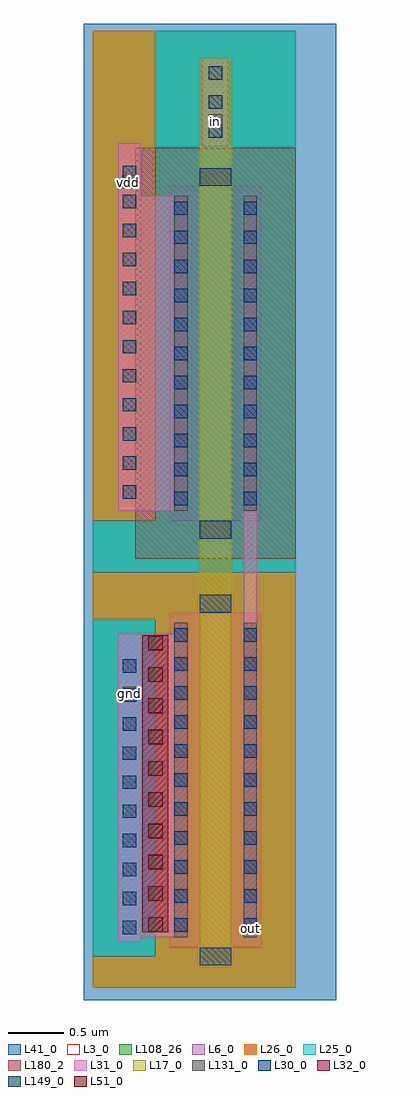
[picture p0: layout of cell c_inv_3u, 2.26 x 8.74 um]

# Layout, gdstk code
import gdstk
lib = gdstk.Library(unit=1e-6, precision=1e-09)
def R(c, l, rs):  # rectangles x0, y0, x1, y1
    for r in rs: c.add(gdstk.rectangle(r[:2], r[2:], *l))
def A(c, l, x, y, w, h, nx, ny, dx, dy):  # array of equal rectangles
    R(c, l, [(x+i*dx, y+j*dy, x+i*dx+w, y+j*dy+h) for i in range(nx) for j in range(ny)])
L3_0 = (3, 0)
L6_0 = (6, 0)
L17_0 = (17, 0)
L25_0 = (25, 0)
L26_0 = (26, 0)
L30_0 = (30, 0)
L31_0 = (31, 0)
L32_0 = (32, 0)
L41_0 = (41, 0)
L51_0 = (51, 0)
L108_26 = (108, 26)
L131_0 = (131, 0)
L149_0 = (149, 0)
L180_2 = (180, 2)

pc_ct = lib.new_cell('pc_ct')
R(pc_ct, L30_0, [(0,0,0.12,0.12)])

nsvt25_cdns_573996520970 = lib.new_cell('nsvt25_CDNS_573996520970')
R(nsvt25_cdns_573996520970, L6_0, [(-0.27,0,0,3), (-0.27,0,0.55,3), (0.28,0,0.55,3)])
R(nsvt25_cdns_573996520970, L17_0, [(0,-0.16,0.28,3.16)])
R(nsvt25_cdns_573996520970, L26_0, [(-0.4,-0.36,0.68,3.36)])
R(nsvt25_cdns_573996520970, L31_0, [(-0.23,0.09,-0.11,2.91), (0.39,0.09,0.51,2.91)])
R(nsvt25_cdns_573996520970, L41_0, [(-0.54,-0.34,0.82,3.34)])
R(nsvt25_cdns_573996520970, L131_0, [(-0.23,0.09,-0.11,2.91), (0.39,0.09,0.51,2.91)])
R(nsvt25_cdns_573996520970, L149_0, [(0,-0.16,0.28,0), (0,3,0.28,3.16)])
r = gdstk.Reference(pc_ct, (0.39,0.14)); r.repetition = gdstk.Repetition(1, 11, v1=(0.26,0), v2=(0,0.26)); nsvt25_cdns_573996520970.add(r)
r = gdstk.Reference(pc_ct, (-0.23,0.14)); r.repetition = gdstk.Repetition(1, 11, v1=(0.26,0), v2=(0,0.26)); nsvt25_cdns_573996520970.add(r)
nsvt25_cdns_573996520970.add(gdstk.Label('d', (0.28,0), layer=6, texttype=0))
nsvt25_cdns_573996520970.add(gdstk.Label('s', (0,0), layer=6, texttype=0))
nsvt25_cdns_573996520970.add(gdstk.Label('d', (0.415,1.5), layer=127, texttype=0))
nsvt25_cdns_573996520970.add(gdstk.Label('s', (-0.135,1.5), layer=127, texttype=0))
nsvt25_cdns_573996520970.add(gdstk.Label('d', (0.45,1.5), layer=131, texttype=0))
nsvt25_cdns_573996520970.add(gdstk.Label('s', (-0.17,1.5), layer=131, texttype=0))
nsvt25_cdns_573996520970.add(gdstk.Label('g', (0.14,3.08), layer=149, texttype=0))
nsvt25_cdns_573996520970.add(gdstk.Label('g', (0.14,-0.08), layer=149, texttype=0))

psvt25_cdns_573996520971 = lib.new_cell('psvt25_CDNS_573996520971')
R(psvt25_cdns_573996520971, L6_0, [(-0.27,0,0,3), (-0.27,0,0.55,3), (0.28,0,0.55,3)])
R(psvt25_cdns_573996520971, L17_0, [(0,-0.16,0.28,3.16)])
R(psvt25_cdns_573996520971, L25_0, [(-0.4,-0.36,0.68,3.36)])
R(psvt25_cdns_573996520971, L31_0, [(-0.23,0.09,-0.11,2.91), (0.39,0.09,0.51,2.91)])
R(psvt25_cdns_573996520971, L41_0, [(-0.58,-0.34,0.86,3.34)])
R(psvt25_cdns_573996520971, L131_0, [(-0.23,0.09,-0.11,2.91), (0.39,0.09,0.51,2.91)])
R(psvt25_cdns_573996520971, L149_0, [(0,-0.16,0.28,0), (0,3,0.28,3.16)])
R(psvt25_cdns_573996520971, L180_2, [(-0.58,-0.34,0.86,3.34)])
r = gdstk.Reference(pc_ct, (0.39,0.14)); r.repetition = gdstk.Repetition(1, 11, v1=(0.26,0), v2=(0,0.26)); psvt25_cdns_573996520971.add(r)
r = gdstk.Reference(pc_ct, (-0.23,0.14)); r.repetition = gdstk.Repetition(1, 11, v1=(0.26,0), v2=(0,0.26)); psvt25_cdns_573996520971.add(r)
psvt25_cdns_573996520971.add(gdstk.Label('d', (0.28,0), layer=6, texttype=0))
psvt25_cdns_573996520971.add(gdstk.Label('s', (0,0), layer=6, texttype=0))
psvt25_cdns_573996520971.add(gdstk.Label('d', (0.415,1.5), layer=127, texttype=0))
psvt25_cdns_573996520971.add(gdstk.Label('s', (-0.135,1.5), layer=127, texttype=0))
psvt25_cdns_573996520971.add(gdstk.Label('d', (0.45,1.5), layer=131, texttype=0))
psvt25_cdns_573996520971.add(gdstk.Label('s', (-0.17,1.5), layer=131, texttype=0))
psvt25_cdns_573996520971.add(gdstk.Label('g', (0.14,3.08), layer=149, texttype=0))
psvt25_cdns_573996520971.add(gdstk.Label('g', (0.14,-0.08), layer=149, texttype=0))
psvt25_cdns_573996520971.add(gdstk.Label('b', (0.14,1.5), layer=180, texttype=2))

m1__po_cdns_573996520970 = lib.new_cell('M1__PO_CDNS_573996520970')
R(m1__po_cdns_573996520970, L17_0, [(-0.08,-0.37,0.08,0.37)])
A(m1__po_cdns_573996520970, L30_0, -0.06, -0.32, 0.12, 0.12, 1, 3, 0, 0.26)
R(m1__po_cdns_573996520970, L31_0, [(-0.06,-0.37,0.06,0.37)])

m2_m1_g_cdns_57399652097 = lib.new_cell('M2_M1_G_CDNS_573996520971')
R(m2_m1_g_cdns_57399652097, L31_0, [(-0.115,-1.33,0.115,1.33)])
R(m2_m1_g_cdns_57399652097, L32_0, [(-0.115,-1.33,0.115,1.33)])
A(m2_m1_g_cdns_57399652097, L51_0, -0.065, -1.325, 0.13, 0.13, 1, 10, 0, 0.28)

c_inv_3u = lib.new_cell('c_inv_3u')
R(c_inv_3u, L3_0, [(0,3.72,1.82,8.57), (0.1,3.72,1.82,8.57)])
R(c_inv_3u, L25_0, [(0,0.28,0.1,3.3), (0,3.72,0.56,4.18), (0.56,3.72,1.64,3.82), (1.64,3.72,1.82,3.82), (1.64,3.82,1.82,7.54), (0.56,7.54,1.82,8.57)])
R(c_inv_3u, L26_0, [(0,0,0.56,0.28), (1.64,0,1.82,3.72), (0,3.3,0.56,3.72), (0,4.18,0.56,8.57)])
A(c_inv_3u, L30_0, 0.27, 0.48, 0.12, 0.12, 1, 10, 0, 0.26)
A(c_inv_3u, L30_0, 0.27, 4.38, 0.12, 0.12, 1, 12, 0, 0.26)
R(c_inv_3u, L31_0, [(0.43,0.45,0.73,3.17), (0.23,4.27,0.43,4.31), (0.43,4.27,0.73,7.09), (0.98,7.54,1.21,8.32)])
R(c_inv_3u, L41_0, [(-0.08,-0.11,2.18,8.63)])
R(c_inv_3u, L108_26, [(0,0,1.82,8.57)])
R(c_inv_3u, L131_0, [(1.35,0.47,1.47,0.59), (0.27,2.574,0.39,2.694), (0.262,7.154,0.382,7.274), (1.04,7.7,1.16,7.82)])
c_inv_3u.add(gdstk.FlexPath([(0.33,0.28),(0.33,3.3)], 0.46, ends="flush", simple_path=True, layer=25, datatype=0))  # L25_0
c_inv_3u.add(gdstk.FlexPath([(0.33,4.18),(0.33,7.69)], 0.46, ends="flush", simple_path=True, layer=26, datatype=0))  # L26_0
c_inv_3u.add(gdstk.FlexPath([(1.1,3.49),(1.1,4.02)], 0.28, ends="flush", simple_path=True, layer=17, datatype=0))  # L17_0
c_inv_3u.add(gdstk.FlexPath([(1.1,7.31),(1.1,8.32)], 0.28, ends="flush", simple_path=True, layer=17, datatype=0))  # L17_0
c_inv_3u.add(gdstk.FlexPath([(1.41,4.3),(1.41,3.19)], 0.12, ends="flush", simple_path=True, layer=31, datatype=0))  # L31_0
c_inv_3u.add(gdstk.FlexPath([(0.33,0.41),(0.33,3.17)], 0.2, ends="flush", simple_path=True, layer=31, datatype=0))  # L31_0
c_inv_3u.add(gdstk.FlexPath([(0.33,4.31),(0.33,7.56)], 0.2, ends="flush", simple_path=True, layer=31, datatype=0))  # L31_0
c_inv_3u.add(gdstk.FlexPath([(0.33,0.41),(0.33,3.17)], 0.2, ends="flush", simple_path=True, layer=6, datatype=0))  # L6_0
c_inv_3u.add(gdstk.FlexPath([(0.33,4.31),(0.33,7.56)], 0.2, ends="flush", simple_path=True, layer=6, datatype=0))  # L6_0
c_inv_3u.add(gdstk.Reference(nsvt25_cdns_573996520970, (0.96,0.36)))
c_inv_3u.add(gdstk.Reference(psvt25_cdns_573996520971, (0.96,4.18)))
c_inv_3u.add(gdstk.Reference(m1__po_cdns_573996520970, (1.1,7.93)))
c_inv_3u.add(gdstk.Reference(m2_m1_g_cdns_57399652097, (0.56,1.825)))
c_inv_3u.add(gdstk.Label('gnd', (0.33,2.634), layer=131, texttype=0))
c_inv_3u.add(gdstk.Label('vdd', (0.322,7.214), layer=131, texttype=0))
c_inv_3u.add(gdstk.Label('out', (1.41,0.53), layer=131, texttype=0))
c_inv_3u.add(gdstk.Label('in', (1.1,7.76), layer=131, texttype=0))

lib.write_gds('c_inv_3u.gds')
